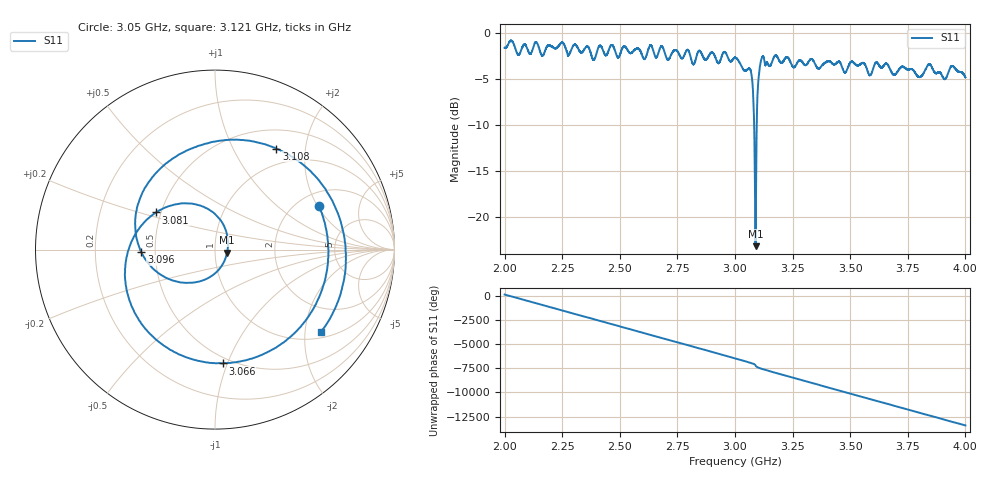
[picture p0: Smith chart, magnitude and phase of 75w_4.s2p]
!Agilent Technologies,E8362B,MY43021131,A.07.50.67
!Agilent E8362B: A.07.50.67
!Date: Thursday, March 14, 2024 14:10:26
!Correction: S11(Off)
!S21(Off)
!S12(Off)
!S22(Off)
!S2P File: Measurements: S11, S21, S12, S22:
# Hz S  RI  R 50
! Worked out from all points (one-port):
!   20001 points, 2 GHz to 4 GHz, reference 50 ohm
!   lowest |S11| = -23.2 dB at 3.089 GHz (marker M1), VSWR 1.15, Z = 57.2 - j1.94 ohm
!   |S11| at or under -10 dB: 3.083139 GHz to 3.094311 GHz (11.17 MHz wide, 0.362 % of centre)
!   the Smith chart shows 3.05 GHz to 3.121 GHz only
!   S11 on the Smith chart (normalised r, x): 3.05 GHz: 2.57, +2.06; 3.066 GHz: 0.45, -0.96; 3.081 GHz: 0.47, +0.23; 3.096 GHz: 0.42, -0.02; 3.108 GHz: 0.76, +1.50; 3.121 GHz: 1.16, -2.41
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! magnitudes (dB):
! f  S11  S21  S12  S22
! 2 GHz  -1.6  -  -  -
! 2.333 GHz  -2.1  -  -  -
! 2.667 GHz  -2.3  -  -  -
! 3 GHz  -2.7  -  -  -
! 3.05 GHz  -4.0  -  -  -
! 3.066 GHz  -3.9  -  -  -
! 3.075 GHz  -5.2  -  -  -
! 3.081 GHz  -8.2  -  -  -
! 3.089 GHz  -23.2  -  -  -
! 3.096 GHz  -7.7  -  -  -
! 3.102 GHz  -5.0  -  -  -
! 3.108 GHz  -3.6  -  -  -
! 3.121 GHz  -2.5  -  -  -
! 3.333 GHz  -2.8  -  -  -
! 3.477 GHz  -4.3  -  -  -
! 3.556 GHz  -3.2  -  -  -
! 3.586 GHz  -4.6  -  -  -
! 3.667 GHz  -3.6  -  -  -
! 3.844 GHz  -3.4  -  -  -
! 3.91 GHz  -5.0  -  -  -
! 3.945 GHz  -3.6  -  -  -
! 4 GHz  -4.8  -  -  -
